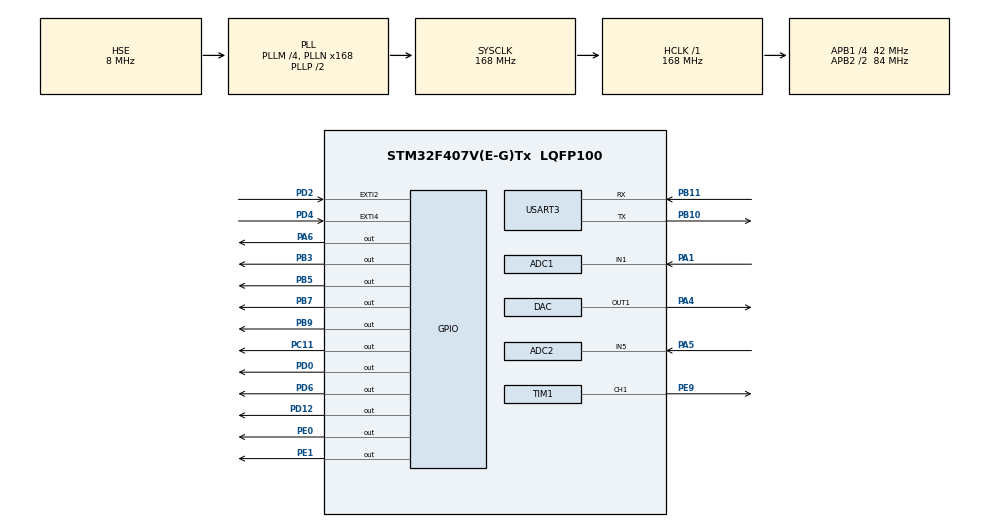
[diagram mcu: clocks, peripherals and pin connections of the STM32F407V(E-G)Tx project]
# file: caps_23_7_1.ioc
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ADC1.Channel-0\#ChannelRegularConversion=ADC_CHANNEL_1
ADC1.ClockPrescaler=ADC_CLOCK_SYNC_PCLK_DIV4
ADC1.ContinuousConvMode=DISABLE
ADC1.DMAContinuousRequests=DISABLE
ADC1.DataAlign=ADC_DATAALIGN_RIGHT
ADC1.DiscontinuousConvMode=DISABLE
ADC1.EOCSelection=ADC_EOC_SINGLE_CONV
ADC1.EnableAnalogWatchDog=false
ADC1.ExternalTrigConv=ADC_EXTERNALTRIGCONV_T8_TRGO
ADC1.ExternalTrigConvEdge=ADC_EXTERNALTRIGCONVEDGE_RISING
ADC1.InjNumberOfConversion=0
ADC1.Mode=ADC_DUALMODE_INJECSIMULT
ADC1.NbrOfConversion=1
ADC1.NbrOfConversionFlag=1
ADC1.Rank-0\#ChannelRegularConversion=1
ADC1.Resolution=ADC_RESOLUTION_12B
ADC1.SamplingTime-0\#ChannelRegularConversion=ADC_SAMPLETIME_84CYCLES
ADC1.ScanConvMode=ENABLE
ADC1.TwoSamplingDelay=ADC_TWOSAMPLINGDELAY_12CYCLES
ADC1.master=1
ADC2.Channel-5\#ChannelRegularConversion=ADC_CHANNEL_5
ADC2.ClockPrescaler=ADC_CLOCK_SYNC_PCLK_DIV4
ADC2.ContinuousConvMode=DISABLE
ADC2.DMAContinuousRequests=DISABLE
ADC2.DataAlign=ADC_DATAALIGN_RIGHT
ADC2.DiscontinuousConvMode=DISABLE
ADC2.EOCSelection=ADC_EOC_SINGLE_CONV
ADC2.EnableAnalogWatchDog=false
ADC2.InjNumberOfConversion=0
ADC2.Mode=ADC_DUALMODE_INJECSIMULT
ADC2.NbrOfConversion=1
ADC2.NbrOfConversionFlag=1
ADC2.Rank-5\#ChannelRegularConversion=1
ADC2.Resolution=ADC_RESOLUTION_12B
ADC2.SamplingTime-5\#ChannelRegularConversion=ADC_SAMPLETIME_84CYCLES
ADC2.ScanConvMode=ENABLE
ADC2.TwoSamplingDelay=ADC_TWOSAMPLINGDELAY_12CYCLES
DAC.DAC_Trigger=DAC_TRIGGER_T6_TRGO
Mcu.Family=STM32F4
Mcu.Name=STM32F407V(E-G)Tx
Mcu.Package=LQFP100
NVIC.ADC_IRQn=true\:0\:0\:false\:false\:true\:true
NVIC.EXTI2_IRQn=true\:0\:0\:false\:false\:true\:true
NVIC.EXTI4_IRQn=true\:0\:0\:false\:false\:true\:true
NVIC.PriorityGroup=NVIC_PRIORITYGROUP_4
NVIC.TIM8_TRG_COM_TIM14_IRQn=true\:0\:0\:false\:false\:true\:true
NVIC.TIM8_UP_TIM13_IRQn=true\:0\:0\:false\:false\:true\:true
PA1.Signal=ADCx_IN1
PA13.Mode=Serial_Wire
PA13.Signal=SYS_JTMS-SWDIO
PA14.Mode=Serial_Wire
PA14.Signal=SYS_JTCK-SWCLK
PA4.Signal=COMP_DAC1_group
PA5.Signal=ADCx_IN5
PA6.Signal=GPIO_Output
PB10.Mode=Asynchronous
PB10.Signal=USART3_TX
PB11.Mode=Asynchronous
PB11.Signal=USART3_RX
PB3.Signal=GPIO_Output
PB5.Signal=GPIO_Output
PB7.Signal=GPIO_Output
PB9.Signal=GPIO_Output
PC11.Signal=GPIO_Output
PD0.Signal=GPIO_Output
PD12.Signal=GPIO_Output
PD2.Signal=GPXTI2
PD4.Signal=GPXTI4
PD6.Signal=GPIO_Output
PE0.Signal=GPIO_Output
PE1.Signal=GPIO_Output
PE9.Signal=S_TIM1_CH1
PH0-OSC_IN.Mode=HSE-External-Oscillator
PH0-OSC_IN.Signal=RCC_OSC_IN
PH1-OSC_OUT.Mode=HSE-External-Oscillator
PH1-OSC_OUT.Signal=RCC_OSC_OUT
ProjectManager.HeapSize=0x200
ProjectManager.StackSize=0x400
ProjectManager.TargetToolchain=TrueSTUDIO
RCC.48MHZClocksFreq_Value=84000000
RCC.AHBFreq_Value=168000000
RCC.APB1CLKDivider=RCC_HCLK_DIV4
RCC.APB1Freq_Value=42000000
RCC.APB1TimFreq_Value=84000000
RCC.APB2CLKDivider=RCC_HCLK_DIV2
RCC.APB2Freq_Value=84000000
RCC.APB2TimFreq_Value=168000000
RCC.CortexFreq_Value=168000000
RCC.HCLKFreq_Value=168000000
RCC.HSE_VALUE=8000000
RCC.HSI_VALUE=16000000
RCC.LSE_VALUE=32768
RCC.PLLM=4
RCC.PLLN=168
RCC.PLLSourceVirtual=RCC_PLLSOURCE_HSE
RCC.SYSCLKFreq_VALUE=168000000
RCC.SYSCLKSource=RCC_SYSCLKSOURCE_PLLCLK
RCC.VCOOutputFreq_Value=336000000
SH.ADCx_IN1.0=ADC1_IN1,IN1
SH.ADCx_IN5.0=ADC2_IN5,IN5
SH.COMP_DAC1_group.0=DAC_OUT1,DAC_OUT1
SH.S_TIM1_CH1.0=TIM1_CH1,PWM Generation1 CH1
TIM1.Channel-PWM\ Generation1\ CH1=TIM_CHANNEL_1
TIM6.Period=44
TIM6.Prescaler=19
TIM6.TIM_MasterOutputTrigger=TIM_TRGO_UPDATE
TIM8.Period=41
TIM8.Prescaler=19
TIM8.TIM_MasterOutputTrigger=TIM_TRGO_UPDATE
USART3.VirtualMode=VM_ASYNC
VP_TIM1_VS_ClockSourceINT.Mode=Internal
VP_TIM6_VS_ClockSourceINT.Mode=Enable_Timer
VP_TIM8_VS_ClockSourceINT.Mode=Internal
board=caps_23_7_1

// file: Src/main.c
/**
  ******************************************************************************
  * @file           : main.c
  * @brief          : Main program body
  ******************************************************************************
  ** This notice applies to any and all portions of this file
  * that are not between comment pairs USER CODE BEGIN and
  * USER CODE END. Other portions of this file, whether
  * inserted by the user or by software development tools
  * are owned by their respective copyright owners.
  *
  * COPYRIGHT(c) 2018 STMicroelectronics
  *
  * Redistribution and use in source and binary forms, with or without modification,
  * are permitted provided that the following conditions are met:
  *   1. Redistributions of source code must retain the above copyright notice,
  *      this list of conditions and the following disclaimer.
  *   2. Redistributions in binary form must reproduce the above copyright notice,
  *      this list of conditions and the following disclaimer in the documentation
  *      and/or other materials provided with the distribution.
  *   3. Neither the name of STMicroelectronics nor the names of its contributors
  *      may be used to endorse or promote products derived from this software
  *      without specific prior written permission.
  *
  * THIS SOFTWARE IS PROVIDED BY THE COPYRIGHT HOLDERS AND CONTRIBUTORS "AS IS"
  * AND ANY EXPRESS OR IMPLIED WARRANTIES, INCLUDING, BUT NOT LIMITED TO, THE
  * IMPLIED WARRANTIES OF MERCHANTABILITY AND FITNESS FOR A PARTICULAR PURPOSE ARE
  * DISCLAIMED. IN NO EVENT SHALL THE COPYRIGHT HOLDER OR CONTRIBUTORS BE LIABLE
  * FOR ANY DIRECT, INDIRECT, INCIDENTAL, SPECIAL, EXEMPLARY, OR CONSEQUENTIAL
  * DAMAGES (INCLUDING, BUT NOT LIMITED TO, PROCUREMENT OF SUBSTITUTE GOODS OR
  * SERVICES; LOSS OF USE, DATA, OR PROFITS; OR BUSINESS INTERRUPTION) HOWEVER
  * CAUSED AND ON ANY THEORY OF LIABILITY, WHETHER IN CONTRACT, STRICT LIABILITY,
  * OR TORT (INCLUDING NEGLIGENCE OR OTHERWISE) ARISING IN ANY WAY OUT OF THE USE
  * OF THIS SOFTWARE, EVEN IF ADVISED OF THE POSSIBILITY OF SUCH DAMAGE.
  *
  ******************************************************************************
  */
#include "main.h"
#include "stdio.h"
#include "stm32f4xx_hal.h"
#include "math.h"
#include "arm_math.h"

/* USER CODE BEGIN Includes */
uint16_t adc_data1[2]={0};

uint8_t adc_Complete=0;
uint8_t adc_Periyod=0;
uint8_t adc2_Complete=0;

uint8_t modCount=1;

float32_t Demul;
float32_t Demul_bd;

float_t  pi = 3.14;

uint32_t analogAci=0;
/*
float32_t srcB_buf_f32[16] =
{
0.060128, 0.061069, 0.061881, 0.062562, 0.063109, 0.063521, 0.063796, 0.063934, 0.063934, 0.063796, 0.063521, 0.063109, 0.062562, 0.061881, 0.061069, 0.060128
};
*/

float32_t srcB_buf_f32[16] =
{
0.060110, 0.061057, 0.061875, 0.062561, 0.063113, 0.063528, 0.063806, 0.063945, 0.063945, 0.063806, 0.063528, 0.063113, 0.062561, 0.061875, 0.061057, 0.060110
};

int16_t cosKatsayi[4]=
{
	1, 0, -1, 0
};
/*
const uint32_t sine_wave_array[4]=
{
0, 2047, 4095, 2047
};*/
/*
//hep eksi geldi x sin
const uint32_t sine_wave_array[4]=
{
2047, 4095, 2047, 0
};*/
/*
//hep sıfır geldi x cos ile
const uint32_t sine_wave_array[4]=
{
4095, 2047, 0, 2047
};*/

float32_t kayanData[16]={0};
float32_t kayanData_2[16]={0};

float32_t lpf1=0;
float32_t lpf1_bd=0;
float32_t caps_atan=0;

float32_t aci_Degeri=0;
float32_t arctan=0;
uint8_t aci_Count=1;
float32_t aci_Array[64]={0};
float32_t aci_Mean=0;

uint8_t deneme=0;
int32_t bolme=0;
int32_t aciBolme=0;
char mod_buf[20];
char modbd_buf[20];

char demul_buf[20];
char demulbd_buf[20];

char lpf2_buf[20];
char lpf1_buf[20];

char aci_Degeribuf[20];
char atanOutputbuf[20];
char Vin_buf[20];
char Vbd_buf[20];

int count=1;
uint16_t cosT=1;

float32_t sum_Aci[16]={0};
float32_t buffer_Angle=0;
float32_t total_angle=0;

float32_t minMaxArray[16]={0};

uint16_t minDeger=4095;
uint16_t minDeger_bd=4095;

uint16_t maxDeger=0;
uint16_t maxDeger_bd=0;

float32_t Vin_sonuc=0;
float32_t Vbd_sonuc=0;

float32_t adc_AC=0;
float32_t adc_BD=0;

float32_t max_AC[16]={0};
float32_t max_BD[16]={0};
uint8_t max_AC_Count=0;

uint8_t max_BD_Count=1;

float32_t max_AC_Value=0;
float32_t max_BD_Value=0;
float32_t min_AC_Value=0;
float32_t min_BD_Value=0;

uint32_t testIndex=0;
extern uint16_t sabit;

/* USER CODE END Includes */

ADC_HandleTypeDef hadc1;
ADC_HandleTypeDef hadc2;

DAC_HandleTypeDef hdac;

TIM_HandleTypeDef htim1;
TIM_HandleTypeDef htim6;
TIM_HandleTypeDef htim8;

UART_HandleTypeDef huart3;

/* USER CODE BEGIN PV */
/* Private variables ---------------------------------------------------------*/

int __io_putchar(int ch)
{
 uint8_t c[1];
 c[0] = ch & 0x00FF;
 HAL_UART_Transmit(&huart3, &*c, 1, 10);
 return ch;
}

int _write(int file,char *ptr, int len)
{
 int DataIdx;
 for(DataIdx= 0; DataIdx< len; DataIdx++)
 {
 __io_putchar(*ptr++);
 }
return len;
}
/* USER CODE END PV */

void SystemClock_Config(void);
static void MX_GPIO_Init(void);
static void MX_ADC1_Init(void);
static void MX_DAC_Init(void);
static void MX_TIM6_Init(void);
static void MX_USART3_UART_Init(void);
static void MX_TIM8_Init(void);
static void MX_ADC2_Init(void);
static void MX_TIM1_Init(void);

void HAL_TIM_MspPostInit(TIM_HandleTypeDef *htim);

/* USER CODE BEGIN PFP */
/* Private function prototypes -----------------------------------------------*/

/* USER CODE END PFP */

int main(void)
{

  /* MCU Configuration----------------------------------------------------------*/

  /* Reset of all peripherals, Initializes the Flash interface and the Systick. */
  HAL_Init();

  /* Configure the system clock */
  SystemClock_Config();

  /* Initialize all configured peripherals */
  MX_GPIO_Init();
  MX_ADC1_Init();
  MX_DAC_Init();
  MX_TIM6_Init();
  MX_USART3_UART_Init();
  MX_TIM8_Init();
  MX_ADC2_Init();
  MX_TIM1_Init();
  /* USER CODE BEGIN 2 */
   LCD1602_Begin4BIT(GPIOE, GPIO_PIN_0, GPIO_PIN_1, GPIOB, GPIO_PIN_9, GPIO_PIN_7, GPIO_PIN_5, GPIO_PIN_3);
   LCD1602_clear();
   	LCD1602_1stLine();
   	LCD1602_print("Enkoder Pulse");
   	LCD1602_2ndLine();
   	LCD1602_print("Degeri:");

   	  HAL_ADC_Start_IT(&hadc1);
   	  HAL_TIM_Base_Start(&htim8);
   	HAL_TIM_Base_Start(&htim6);
   	  HAL_DAC_Start(&hdac,DAC_CHANNEL_1);

   	  //HAL_TIM_Base_Start(&htim3);
  // HAL_TIM_PWM_Start(&htim1, TIM_CHANNEL_1);
   //htim1.Instance->CCR1 =2099;// Duty cycle = X(18000) / TIM.Period, DT=%50*/
   //htim3.Instance->CCR1 =pwmDutyCycle;// Duty cycle = X(18000) / TIM.Period, DT=%50*/
  /* USER CODE END 2 */

  /* Infinite loop */
  while (1)
  {

  /* USER CODE BEGIN 3 */
  /* USER CODE BEGIN 3 */

  }
  /* USER CODE END 3 */

}

void SystemClock_Config(void)
{

  RCC_OscInitTypeDef RCC_OscInitStruct;
  RCC_ClkInitTypeDef RCC_ClkInitStruct;

    /**Configure the main internal regulator output voltage
    */
  __HAL_RCC_PWR_CLK_ENABLE();

  __HAL_PWR_VOLTAGESCALING_CONFIG(PWR_REGULATOR_VOLTAGE_SCALE1);

    /**Initializes the CPU, AHB and APB busses clocks
    */
  RCC_OscInitStruct.OscillatorType = RCC_OSCILLATORTYPE_HSE;
  RCC_OscInitStruct.HSEState = RCC_HSE_ON;
  RCC_OscInitStruct.PLL.PLLState = RCC_PLL_ON;
  RCC_OscInitStruct.PLL.PLLSource = RCC_PLLSOURCE_HSE;
  RCC_OscInitStruct.PLL.PLLM = 4;
  RCC_OscInitStruct.PLL.PLLN = 168;
  RCC_OscInitStruct.PLL.PLLP = RCC_PLLP_DIV2;
  RCC_OscInitStruct.PLL.PLLQ = 4;
  if (HAL_RCC_OscConfig(&RCC_OscInitStruct) != HAL_OK)
  {
    _Error_Handler(__FILE__, __LINE__);
  }

    /**Initializes the CPU, AHB and APB busses clocks
    */
  RCC_ClkInitStruct.ClockType = RCC_CLOCKTYPE_HCLK|RCC_CLOCKTYPE_SYSCLK
                              |RCC_CLOCKTYPE_PCLK1|RCC_CLOCKTYPE_PCLK2;
  RCC_ClkInitStruct.SYSCLKSource = RCC_SYSCLKSOURCE_PLLCLK;
  RCC_ClkInitStruct.AHBCLKDivider = RCC_SYSCLK_DIV1;
  RCC_ClkInitStruct.APB1CLKDivider = RCC_HCLK_DIV4;
  RCC_ClkInitStruct.APB2CLKDivider = RCC_HCLK_DIV2;

  if (HAL_RCC_ClockConfig(&RCC_ClkInitStruct, FLASH_LATENCY_5) != HAL_OK)
  {
    _Error_Handler(__FILE__, __LINE__);
  }

    /**Configure the Systick interrupt time
    */
  HAL_SYSTICK_Config(HAL_RCC_GetHCLKFreq()/1000);

    /**Configure the Systick
    */
  HAL_SYSTICK_CLKSourceConfig(SYSTICK_CLKSOURCE_HCLK);

  /* SysTick_IRQn interrupt configuration */
  HAL_NVIC_SetPriority(SysTick_IRQn, 0, 0);
}

/* ADC1 init function */
static void MX_ADC1_Init(void)
{

  ADC_MultiModeTypeDef multimode;
  ADC_ChannelConfTypeDef sConfig;

    /**Configure the global features of the ADC (Clock, Resolution, Data Alignment and number of conversion)
    */
  hadc1.Instance = ADC1;
  hadc1.Init.ClockPrescaler = ADC_CLOCK_SYNC_PCLK_DIV4;
  hadc1.Init.Resolution = ADC_RESOLUTION_12B;
  hadc1.Init.ScanConvMode = ENABLE;
  hadc1.Init.ContinuousConvMode = DISABLE;
  hadc1.Init.DiscontinuousConvMode = DISABLE;
  hadc1.Init.ExternalTrigConvEdge = ADC_EXTERNALTRIGCONVEDGE_RISING;
  hadc1.Init.ExternalTrigConv = ADC_EXTERNALTRIGCONV_T8_TRGO;
  hadc1.Init.DataAlign = ADC_DATAALIGN_RIGHT;
  hadc1.Init.NbrOfConversion = 1;
  hadc1.Init.DMAContinuousRequests = DISABLE;
  hadc1.Init.EOCSelection = ADC_EOC_SINGLE_CONV;
  if (HAL_ADC_Init(&hadc1) != HAL_OK)
  {
    _Error_Handler(__FILE__, __LINE__);
  }

    /**Configure the ADC multi-mode
    */
  multimode.Mode = ADC_DUALMODE_INJECSIMULT;
  multimode.TwoSamplingDelay = ADC_TWOSAMPLINGDELAY_12CYCLES;
  if (HAL_ADCEx_MultiModeConfigChannel(&hadc1, &multimode) != HAL_OK)
  {
    _Error_Handler(__FILE__, __LINE__);
  }

    /**Configure for the selected ADC regular channel its corresponding rank in the sequencer and its sample time.
    */
  sConfig.Channel = ADC_CHANNEL_1;
  sConfig.Rank = 1;
  sConfig.SamplingTime = ADC_SAMPLETIME_84CYCLES;
  if (HAL_ADC_ConfigChannel(&hadc1, &sConfig) != HAL_OK)
  {
    _Error_Handler(__FILE__, __LINE__);
  }

}

/* ADC2 init function */
static void MX_ADC2_Init(void)
{

  ADC_ChannelConfTypeDef sConfig;

    /**Configure the global features of the ADC (Clock, Resolution, Data Alignment and number of conversion)
    */
  hadc2.Instance = ADC2;
  hadc2.Init.ClockPrescaler = ADC_CLOCK_SYNC_PCLK_DIV4;
  hadc2.Init.Resolution = ADC_RESOLUTION_12B;
  hadc2.Init.ScanConvMode = ENABLE;
  hadc2.Init.ContinuousConvMode = DISABLE;
  hadc2.Init.DiscontinuousConvMode = DISABLE;
  hadc2.Init.DataAlign = ADC_DATAALIGN_RIGHT;
  hadc2.Init.NbrOfConversion = 1;
  hadc2.Init.DMAContinuousRequests = DISABLE;
  hadc2.Init.EOCSelection = ADC_EOC_SINGLE_CONV;
  if (HAL_ADC_Init(&hadc2) != HAL_OK)
  {
    _Error_Handler(__FILE__, __LINE__);
  }

    /**Configure for the selected ADC regular channel its corresponding rank in the sequencer and its sample time.
    */
  sConfig.Channel = ADC_CHANNEL_5;
  sConfig.Rank = 1;
  sConfig.SamplingTime = ADC_SAMPLETIME_84CYCLES;
  if (HAL_ADC_ConfigChannel(&hadc2, &sConfig) != HAL_OK)
  {
    _Error_Handler(__FILE__, __LINE__);
  }

}

/* DAC init function */
static void MX_DAC_Init(void)
{

  DAC_ChannelConfTypeDef sConfig;

    /**DAC Initialization
    */
  hdac.Instance = DAC;
  if (HAL_DAC_Init(&hdac) != HAL_OK)
  {
    _Error_Handler(__FILE__, __LINE__);
  }

    /**DAC channel OUT1 config
    */
  sConfig.DAC_Trigger = DAC_TRIGGER_T6_TRGO;
  sConfig.DAC_OutputBuffer = DAC_OUTPUTBUFFER_ENABLE;
  if (HAL_DAC_ConfigChannel(&hdac, &sConfig, DAC_CHANNEL_1) != HAL_OK)
  {
    _Error_Handler(__FILE__, __LINE__);
  }

}

/* TIM1 init function */
static void MX_TIM1_Init(void)
{

  TIM_ClockConfigTypeDef sClockSourceConfig;
  TIM_MasterConfigTypeDef sMasterConfig;
  TIM_OC_InitTypeDef sConfigOC;
  TIM_BreakDeadTimeConfigTypeDef sBreakDeadTimeConfig;

  htim1.Instance = TIM1;
  htim1.Init.Prescaler = 7;
  htim1.Init.CounterMode = TIM_COUNTERMODE_UP;
  htim1.Init.Period = 41;
  htim1.Init.ClockDivision = TIM_CLOCKDIVISION_DIV1;
  htim1.Init.RepetitionCounter = 0;
  if (HAL_TIM_Base_Init(&htim1) != HAL_OK)
  {
    _Error_Handler(__FILE__, __LINE__);
  }

  sClockSourceConfig.ClockSource = TIM_CLOCKSOURCE_INTERNAL;
  if (HAL_TIM_ConfigClockSource(&htim1, &sClockSourceConfig) != HAL_OK)
  {
    _Error_Handler(__FILE__, __LINE__);
  }

  if (HAL_TIM_PWM_Init(&htim1) != HAL_OK)
  {
    _Error_Handler(__FILE__, __LINE__);
  }

  sMasterConfig.MasterOutputTrigger = TIM_TRGO_RESET;
  sMasterConfig.MasterSlaveMode = TIM_MASTERSLAVEMODE_DISABLE;
  if (HAL_TIMEx_MasterConfigSynchronization(&htim1, &sMasterConfig) != HAL_OK)
  {
    _Error_Handler(__FILE__, __LINE__);
  }

  sConfigOC.OCMode = TIM_OCMODE_PWM1;
  sConfigOC.Pulse = 0;
  sConfigOC.OCPolarity = TIM_OCPOLARITY_HIGH;
  sConfigOC.OCNPolarity = TIM_OCNPOLARITY_HIGH;
  sConfigOC.OCFastMode = TIM_OCFAST_DISABLE;
  sConfigOC.OCIdleState = TIM_OCIDLESTATE_RESET;
  sConfigOC.OCNIdleState = TIM_OCNIDLESTATE_RESET;
  if (HAL_TIM_PWM_ConfigChannel(&htim1, &sConfigOC, TIM_CHANNEL_1) != HAL_OK)
  {
    _Error_Handler(__FILE__, __LINE__);
  }

  sBreakDeadTimeConfig.OffStateRunMode = TIM_OSSR_DISABLE;
  sBreakDeadTimeConfig.OffStateIDLEMode = TIM_OSSI_DISABLE;
  sBreakDeadTimeConfig.LockLevel = TIM_LOCKLEVEL_OFF;
  sBreakDeadTimeConfig.DeadTime = 0;
  sBreakDeadTimeConfig.BreakState = TIM_BREAK_DISABLE;
  sBreakDeadTimeConfig.BreakPolarity = TIM_BREAKPOLARITY_HIGH;
  sBreakDeadTimeConfig.AutomaticOutput = TIM_AUTOMATICOUTPUT_DISABLE;
  if (HAL_TIMEx_ConfigBreakDeadTime(&htim1, &sBreakDeadTimeConfig) != HAL_OK)
  {
    _Error_Handler(__FILE__, __LINE__);
  }

  HAL_TIM_MspPostInit(&htim1);

}

/* TIM6 init function */
static void MX_TIM6_Init(void)
{

  TIM_MasterConfigTypeDef sMasterConfig;

  htim6.Instance = TIM6;
  htim6.Init.Prescaler = 19;
  htim6.Init.CounterMode = TIM_COUNTERMODE_UP;
  htim6.Init.Period = 44;
  if (HAL_TIM_Base_Init(&htim6) != HAL_OK)
  {
    _Error_Handler(__FILE__, __LINE__);
  }

  sMasterConfig.MasterOutputTrigger = TIM_TRGO_UPDATE;
  sMasterConfig.MasterSlaveMode = TIM_MASTERSLAVEMODE_DISABLE;
  if (HAL_TIMEx_MasterConfigSynchronization(&htim6, &sMasterConfig) != HAL_OK)
  {
    _Error_Handler(__FILE__, __LINE__);
  }

}

/* TIM8 init function */
static void MX_TIM8_Init(void)
{

  TIM_ClockConfigTypeDef sClockSourceConfig;
  TIM_MasterConfigTypeDef sMasterConfig;

  htim8.Instance = TIM8;
  htim8.Init.Prescaler = 41;
  htim8.Init.CounterMode = TIM_COUNTERMODE_UP;
  htim8.Init.Period = 19;//41,19>200k,167,9>>100k <<< 4,209<<160k
  htim8.Init.ClockDivision = TIM_CLOCKDIVISION_DIV1;
  htim8.Init.RepetitionCounter = 0;
  if (HAL_TIM_Base_Init(&htim8) != HAL_OK)
  {
    _Error_Handler(__FILE__, __LINE__);
  }

  sClockSourceConfig.ClockSource = TIM_CLOCKSOURCE_INTERNAL;
  if (HAL_TIM_ConfigClockSource(&htim8, &sClockSourceConfig) != HAL_OK)
  {
    _Error_Handler(__FILE__, __LINE__);
  }

  sMasterConfig.MasterOutputTrigger = TIM_TRGO_UPDATE;
  sMasterConfig.MasterSlaveMode = TIM_MASTERSLAVEMODE_DISABLE;
  if (HAL_TIMEx_MasterConfigSynchronization(&htim8, &sMasterConfig) != HAL_OK)
  {
    _Error_Handler(__FILE__, __LINE__);
  }

}

/* USART3 init function */
static void MX_USART3_UART_Init(void)
{

  huart3.Instance = USART3;
  huart3.Init.BaudRate = 115200;
  huart3.Init.WordLength = UART_WORDLENGTH_8B;
  huart3.Init.StopBits = UART_STOPBITS_1;
  huart3.Init.Parity = UART_PARITY_NONE;
  huart3.Init.Mode = UART_MODE_TX_RX;
  huart3.Init.HwFlowCtl = UART_HWCONTROL_NONE;
  huart3.Init.OverSampling = UART_OVERSAMPLING_16;
  if (HAL_UART_Init(&huart3) != HAL_OK)
  {
    _Error_Handler(__FILE__, __LINE__);
  }

}

/** Configure pins as
        * Analog
        * Input
        * Output
        * EVENT_OUT
        * EXTI
*/
static void MX_GPIO_Init(void)
{

  GPIO_InitTypeDef GPIO_InitStruct;

  /* GPIO Ports Clock Enable */
  __HAL_RCC_GPIOH_CLK_ENABLE();
  __HAL_RCC_GPIOA_CLK_ENABLE();
  __HAL_RCC_GPIOE_CLK_ENABLE();
  __HAL_RCC_GPIOB_CLK_ENABLE();
  __HAL_RCC_GPIOD_CLK_ENABLE();
  __HAL_RCC_GPIOC_CLK_ENABLE();

  /*Configure GPIO pin Output Level */
  HAL_GPIO_WritePin(GPIOA, GPIO_PIN_6, GPIO_PIN_RESET);

  /*Configure GPIO pin Output Level */
  HAL_GPIO_WritePin(GPIOD, GPIO_PIN_12|GPIO_PIN_0|GPIO_PIN_6, GPIO_PIN_RESET);

  /*Configure GPIO pin Output Level */
  HAL_GPIO_WritePin(GPIOC, GPIO_PIN_11, GPIO_PIN_RESET);

  /*Configure GPIO pin Output Level */
  HAL_GPIO_WritePin(GPIOB, GPIO_PIN_3|GPIO_PIN_5|GPIO_PIN_7|GPIO_PIN_9, GPIO_PIN_RESET);

  /*Configure GPIO pin Output Level */
  HAL_GPIO_WritePin(GPIOE, GPIO_PIN_0|GPIO_PIN_1, GPIO_PIN_RESET);

  /*Configure GPIO pin : PA6 */
  GPIO_InitStruct.Pin = GPIO_PIN_6;
  GPIO_InitStruct.Mode = GPIO_MODE_OUTPUT_PP;
  GPIO_InitStruct.Pull = GPIO_NOPULL;
  GPIO_InitStruct.Speed = GPIO_SPEED_FREQ_LOW;
  HAL_GPIO_Init(GPIOA, &GPIO_InitStruct);

  /*Configure GPIO pins : PD12 PD0 PD6 */
  GPIO_InitStruct.Pin = GPIO_PIN_12|GPIO_PIN_0|GPIO_PIN_6;
  GPIO_InitStruct.Mode = GPIO_MODE_OUTPUT_PP;
  GPIO_InitStruct.Pull = GPIO_NOPULL;
  GPIO_InitStruct.Speed = GPIO_SPEED_FREQ_LOW;
  HAL_GPIO_Init(GPIOD, &GPIO_InitStruct);

  /*Configure GPIO pin : PC11 */
  GPIO_InitStruct.Pin = GPIO_PIN_11;
  GPIO_InitStruct.Mode = GPIO_MODE_OUTPUT_PP;
  GPIO_InitStruct.Pull = GPIO_NOPULL;
  GPIO_InitStruct.Speed = GPIO_SPEED_FREQ_LOW;
  HAL_GPIO_Init(GPIOC, &GPIO_InitStruct);

  /*Configure GPIO pins : PD2 PD4 */
  GPIO_InitStruct.Pin = GPIO_PIN_2|GPIO_PIN_4;
  GPIO_InitStruct.Mode = GPIO_MODE_IT_RISING;
  GPIO_InitStruct.Pull = GPIO_NOPULL;
  HAL_GPIO_Init(GPIOD, &GPIO_InitStruct);

  /*Configure GPIO pins : PB3 PB5 PB7 PB9 */
  GPIO_InitStruct.Pin = GPIO_PIN_3|GPIO_PIN_5|GPIO_PIN_7|GPIO_PIN_9;
  GPIO_InitStruct.Mode = GPIO_MODE_OUTPUT_PP;
  GPIO_InitStruct.Pull = GPIO_NOPULL;
  GPIO_InitStruct.Speed = GPIO_SPEED_FREQ_LOW;
  HAL_GPIO_Init(GPIOB, &GPIO_InitStruct);

  /*Configure GPIO pins : PE0 PE1 */
  GPIO_InitStruct.Pin = GPIO_PIN_0|GPIO_PIN_1;
  GPIO_InitStruct.Mode = GPIO_MODE_OUTPUT_PP;
  GPIO_InitStruct.Pull = GPIO_NOPULL;
  GPIO_InitStruct.Speed = GPIO_SPEED_FREQ_LOW;
  HAL_GPIO_Init(GPIOE, &GPIO_InitStruct);

  /* EXTI interrupt init*/
  HAL_NVIC_SetPriority(EXTI2_IRQn, 0, 0);
  HAL_NVIC_EnableIRQ(EXTI2_IRQn);

  HAL_NVIC_SetPriority(EXTI4_IRQn, 0, 0);
  HAL_NVIC_EnableIRQ(EXTI4_IRQn);

}

/* USER CODE BEGIN 4 */
void HAL_ADC_ConvCpltCallback(ADC_HandleTypeDef* hadc)
{
	//adc_data1[adc_Complete] = HAL_ADC_GetValue(&hadc1);
	adc_data1[0] = HAL_ADC_GetValue(&hadc1);
	//htim1.Instance->CCR1 =1;
	HAL_GPIO_TogglePin(GPIOA, GPIO_PIN_6);

	//adc_Complete = adc_Complete+1;
	//adc_Periyod = adc_Periyod+1;
/*
	if(adc_Complete == 2)
	{
		adc_Complete=0;
	}*/

	/*if (adc_Periyod %2 == 0)
	{*/
	Vin = adc_data1[0];
	//Vbd = adc_data1[1];

	if(cosT == 1)
	{
		Demul = Vin * cosKatsayi[0];
	//	Demul_bd =  Vbd * cosKatsayi[0];
	}
	if (cosT == 2)
	{
		Demul = Vin * cosKatsayi[1];
	//	Demul_bd = Vbd * cosKatsayi[1];
	}
	if (cosT == 3)
	{
		Demul = Vin * cosKatsayi[2];
	//	Demul_bd = Vbd * cosKatsayi[2];
	}
	if (cosT == 4)
	{
		Demul = Vin * cosKatsayi[3];
	//	Demul_bd =  Vbd * cosKatsayi[3];
		cosT=0;
	}
	cosT = cosT+1;

	kayanData[0]=Demul;//pot
	//kayanData_2[0]=Demul_bd;

	for	(int i=1;i<16;i++)
	{
	kayanData[(15-(i-1))] = kayanData[15-i];
//	kayanData_2[(15-(i-1))] = kayanData_2[15-i];
	}
	kayanData[0]=0;

	lpf1 = (kayanData[0] * srcB_buf_f32[0])+ (kayanData[1]*srcB_buf_f32[1]) + (kayanData[2] * srcB_buf_f32[2]) + (kayanData[3] * srcB_buf_f32[3]) + (kayanData[4] * srcB_buf_f32[4]) + (kayanData[5] * srcB_buf_f32[5]) + (kayanData[6] * srcB_buf_f32[6]) + (kayanData[7] * srcB_buf_f32[7]) + (kayanData[8]*srcB_buf_f32[8]) + (kayanData[9] * srcB_buf_f32[9]) + (kayanData[10] * srcB_buf_f32[10])+ (kayanData[11] * srcB_buf_f32[11]) + (kayanData[12] * srcB_buf_f32[12]) + (kayanData[13] * srcB_buf_f32[13]) + (kayanData[14] * srcB_buf_f32[14]) + (kayanData[15] * srcB_buf_f32[15]);
	//lpf1_bd = kayanData_2[0]*srcB_buf_f32[0]+kayanData_2[1]*srcB_buf_f32[1]+kayanData_2[2]*srcB_buf_f32[2]+kayanData_2[3]*srcB_buf_f32[3]+kayanData_2[4]*srcB_buf_f32[4]+kayanData_2[5]*srcB_buf_f32[5]+kayanData_2[6]*srcB_buf_f32[6]+kayanData_2[7]*srcB_buf_f32[7]+kayanData_2[8]*srcB_buf_f32[8]+kayanData_2[9]*srcB_buf_f32[9]+kayanData_2[10]*srcB_buf_f32[10]+kayanData_2[11]*srcB_buf_f32[11]+kayanData_2[12]*srcB_buf_f32[12]+kayanData_2[13]*srcB_buf_f32[13]+kayanData_2[14]*srcB_buf_f32[14] + kayanData_2[15]*srcB_buf_f32[15];

	caps_atan = atan2f(lpf1,lpf1_bd);
	aci_Degeri = (caps_atan * 180) / pi;
	//adc_Complete++;

	HAL_DAC_SetValue(&hdac,DAC_CHANNEL_1, DAC_ALIGN_12B_R, analogAci);

	if (aci_Degeri <= 0 )
	{
		//aci_Degeri = aci_Degeri * -1;
		aciBolme = aci_Degeri * -1;
	}
	if (aci_Degeri >0)
	{
		aciBolme = aci_Degeri;
	}

	bolme = (sabit * aciBolme )/360;
	analogAci=(4095*aciBolme)/360;

 count = bolme /8;

for (int i=1; i < count; i++)
{
	HAL_GPIO_TogglePin(GPIOD, GPIO_PIN_0);

}
				//adc_Complete=0;

		//HAL_GPIO_TogglePin(GPIOA, GPIO_PIN_6);
}

/* USER CODE END 4 */

void _Error_Handler(char *file, int line)
{
  while(1)
  {
  }
}

/************************ (C) COPYRIGHT STMicroelectronics *****END OF FILE****/
